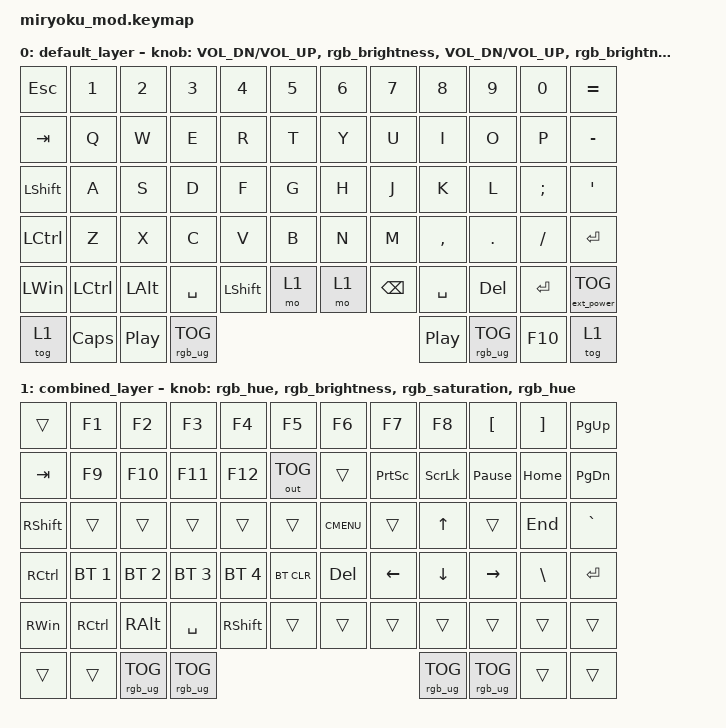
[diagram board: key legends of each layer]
#include <behaviors.dtsi>
#include <dt-bindings/zmk/keys.h>
#include <dt-bindings/zmk/bt.h>
#include <dt-bindings/zmk/rgb.h>
#include <dt-bindings/zmk/mouse.h>
#include <dt-bindings/zmk/outputs.h>
#include <dt-bindings/zmk/ext_power.h>

/ {
     behaviors {
        rgb_brightness: rgb_brightness {
                compatible = "zmk,behavior-sensor-rotate";
                #sensor-binding-cells = <0>;
                bindings = <&rgb_ug RGB_BRD>, <&rgb_ug RGB_BRI>;
        };
            rgb_hue: rgb_hue {
                compatible = "zmk,behavior-sensor-rotate";
                #sensor-binding-cells = <0>;
                bindings = <&rgb_ug RGB_HUD>, <&rgb_ug RGB_HUI>;
        };
        rgb_saturation: rgb_saturation {
            compatible = "zmk,behavior-sensor-rotate";
            #sensor-binding-cells = <0>;
            bindings = <&rgb_ug RGB_SAD>, <&rgb_ug RGB_SAI>;
        };
        rgb_speed: rgb_speed {
            compatible = "zmk,behavior-sensor-rotate";
            #sensor-binding-cells = <0>;
            bindings = <&rgb_ug RGB_SPD>, <&rgb_ug RGB_SPI>;
        };
    };

    keymap {
        compatible = "zmk,keymap";

        default_layer {
            bindings = <
&kp ESCAPE      &kp N1          &kp N2          &kp N3          &kp N4          &kp N5     /**/ &kp N6      &kp N7      &kp N8      &kp N9      &kp N0      &kp EQUAL
&kp TAB         &kp Q           &kp W           &kp E           &kp R           &kp T      /**/ &kp Y       &kp U       &kp I       &kp O       &kp P       &kp MINUS
&kp LSHFT       &kp A           &kp S           &kp D           &kp F           &kp G      /**/ &kp H       &kp J       &kp K       &kp L       &kp SEMI    &kp APOS
&kp LCTRL       &kp Z           &kp X           &kp C           &kp V           &kp B      /**/ &kp N       &kp M       &kp COMMA   &kp DOT     &kp SLASH   &kp ENTER
&kp LWIN        &kp LCTRL       &kp LALT        &kp SPACE       &kp LSHFT       &mo 1      /**/ &mo 1       &kp BSPC    &kp SPACE   &kp DELETE  &kp ENTER   &ext_power EP_TOG
&tog 1          &kp CAPS                                         &kp C_PP   &rgb_ug RGB_TOG /**/&kp C_PP   &rgb_ug RGB_TOG                      &kp F10     &tog 1
            >;//    lower left                upper left             Lower right            upper right
            sensor-bindings = <&inc_dec_kp C_VOL_DN C_VOL_UP &rgb_brightness &inc_dec_kp C_VOL_DN C_VOL_UP &rgb_brightness>;
        };

        combined_layer {
            bindings = <
&trans       &kp F1         &kp F2         &kp F3         &kp F4         &kp F5            /**/ &kp F6      &kp F7      &kp F8      &kp LBKT    &kp RBKT    &kp PG_UP
&kp TAB      &kp F9         &kp F10        &kp F11        &kp F12        &out OUT_TOG      /**/ &trans      &kp PSCRN   &kp SLCK  &kp PAUSE_BREAK &kp HOME &kp PG_DN
&kp RSHIFT   &trans         &trans         &trans         &trans         &trans            /**/ &kp K_CMENU &trans      &kp UP      &trans      &kp END     &kp GRAVE
&kp RCTRL    &bt BT_SEL 1   &bt BT_SEL 2   &bt BT_SEL 3   &bt BT_SEL 4   &bt BT_CLR        /**/ &kp DELETE  &kp LEFT    &kp DOWN    &kp RIGHT   &kp BSLH  &kp ENTER
&kp RWIN     &kp RCTRL      &kp RALT       &kp SPACE      &kp RSHIFT     &trans            /**/ &trans      &trans      &trans      &trans      &trans      &trans
&trans       &trans                                     &rgb_ug RGB_TOG &rgb_ug RGB_TOG    /**/ &rgb_ug RGB_TOG &rgb_ug RGB_TOG                 &trans      &trans
            >;

            sensor-bindings = <&rgb_hue &rgb_brightness &rgb_saturation &rgb_hue>;
        };
    };
};
